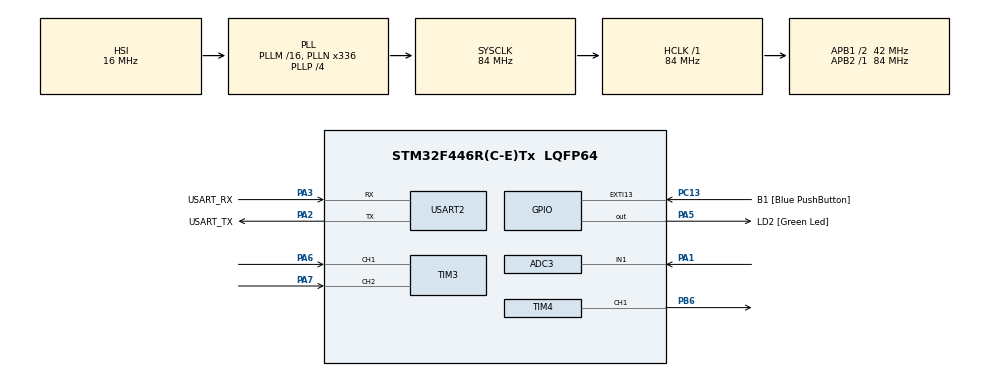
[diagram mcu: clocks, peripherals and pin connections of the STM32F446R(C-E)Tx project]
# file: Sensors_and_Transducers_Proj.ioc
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ADC3.Channel-0\#ChannelRegularConversion=ADC_CHANNEL_1
ADC3.ContinuousConvMode=ENABLE
ADC3.DMAContinuousRequests=ENABLE
ADC3.NbrOfConversionFlag=1
ADC3.Rank-0\#ChannelRegularConversion=1
ADC3.SamplingTime-0\#ChannelRegularConversion=ADC_SAMPLETIME_3CYCLES
ADC3.ScanConvMode=DISABLE
Dma.ADC3.0.Direction=DMA_PERIPH_TO_MEMORY
Dma.ADC3.0.FIFOMode=DMA_FIFOMODE_DISABLE
Dma.ADC3.0.Instance=DMA2_Stream0
Dma.ADC3.0.MemDataAlignment=DMA_MDATAALIGN_WORD
Dma.ADC3.0.MemInc=DMA_MINC_ENABLE
Dma.ADC3.0.Mode=DMA_CIRCULAR
Dma.ADC3.0.PeriphDataAlignment=DMA_PDATAALIGN_WORD
Dma.ADC3.0.PeriphInc=DMA_PINC_DISABLE
Dma.ADC3.0.Priority=DMA_PRIORITY_LOW
Dma.Request0=ADC3
Mcu.Family=STM32F4
Mcu.Name=STM32F446R(C-E)Tx
Mcu.Package=LQFP64
NVIC.DMA2_Stream0_IRQn=true\:1\:0\:true\:false\:true\:false\:true
NVIC.PriorityGroup=NVIC_PRIORITYGROUP_1
NVIC.TIM6_DAC_IRQn=true\:0\:0\:false\:false\:true\:true\:true
PA1.Signal=ADCx_IN1
PA13.GPIO_Label=TMS
PA13.Mode=Serial_Wire
PA13.Signal=SYS_JTMS-SWDIO
PA14.GPIO_Label=TCK
PA14.Mode=Serial_Wire
PA14.Signal=SYS_JTCK-SWCLK
PA2.GPIO_Label=USART_TX
PA2.Mode=Asynchronous
PA2.Signal=USART2_TX
PA3.GPIO_Label=USART_RX
PA3.Mode=Asynchronous
PA3.Signal=USART2_RX
PA5.GPIO_Label=LD2 [Green Led]
PA5.Signal=GPIO_Output
PA6.GPIO_PuPd=GPIO_PULLUP
PA6.GPIO_Speed=GPIO_SPEED_FREQ_VERY_HIGH
PA6.Signal=S_TIM3_CH1
PA7.GPIO_PuPd=GPIO_PULLUP
PA7.GPIO_Speed=GPIO_SPEED_FREQ_VERY_HIGH
PA7.Signal=S_TIM3_CH2
PB3.GPIO_Label=SWO
PB3.Signal=SYS_JTDO-SWO
PB6.Signal=S_TIM4_CH1
PC13.GPIO_Label=B1 [Blue PushButton]
PC13.GPIO_ModeDefaultEXTI=GPIO_MODE_IT_FALLING
PC13.Signal=GPXTI13
PC14-OSC32_IN.Mode=LSE-External-Oscillator
PC14-OSC32_IN.Signal=RCC_OSC32_IN
PC15-OSC32_OUT.Mode=LSE-External-Oscillator
PC15-OSC32_OUT.Signal=RCC_OSC32_OUT
PH0-OSC_IN.Mode=HSE-External-Oscillator
PH0-OSC_IN.Signal=RCC_OSC_IN
PH1-OSC_OUT.Mode=HSE-External-Oscillator
PH1-OSC_OUT.Signal=RCC_OSC_OUT
ProjectManager.HeapSize=0x200
ProjectManager.StackSize=0x400
ProjectManager.TargetToolchain=STM32CubeIDE
RCC.48MHZClocksFreq_Value=84000000
RCC.AHBFreq_Value=84000000
RCC.APB1CLKDivider=RCC_HCLK_DIV2
RCC.APB1Freq_Value=42000000
RCC.APB1TimFreq_Value=84000000
RCC.APB2Freq_Value=84000000
RCC.APB2TimFreq_Value=84000000
RCC.CortexFreq_Value=84000000
RCC.FLatency-AdvancedSettings=FLASH_LATENCY_2
RCC.HCLKFreq_Value=84000000
RCC.HSE_VALUE=8000000
RCC.HSI_VALUE=16000000
RCC.PLLN=336
RCC.PLLP=RCC_PLLP_DIV4
RCC.SYSCLKFreq_VALUE=84000000
RCC.SYSCLKSource=RCC_SYSCLKSOURCE_PLLCLK
RCC.USBFreq_Value=168000000
RCC.VCOOutputFreq_Value=336000000
SH.ADCx_IN1.0=ADC3_IN1,IN1
SH.S_TIM3_CH1.0=TIM3_CH1,Encoder_Interface
SH.S_TIM3_CH2.0=TIM3_CH2,Encoder_Interface
SH.S_TIM4_CH1.0=TIM4_CH1,PWM Generation1 CH1
TIM3.IC1Filter=7
TIM3.IC2Filter=7
TIM4.Channel-PWM\ Generation1\ CH1=TIM_CHANNEL_1
TIM4.Period=4199
TIM6.Period=999
TIM6.Prescaler=8399
USART2.VirtualMode=VM_ASYNC
VP_TIM6_VS_ClockSourceINT.Mode=Enable_Timer
board=NUCLEO-F446RE

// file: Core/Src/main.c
/* USER CODE BEGIN Header */
/**
  ******************************************************************************
  * @file           : main.c
  * @brief          : Main program body
  ******************************************************************************
  * @attention
  *
  * <h2><center>&copy; Copyright (c) 2020 STMicroelectronics.
  * All rights reserved.</center></h2>
  *
  * This software component is licensed by ST under BSD 3-Clause license,
  * the "License"; You may not use this file except in compliance with the
  * License. You may obtain a copy of the License at:
  *                        opensource.org/licenses/BSD-3-Clause
  *
  ******************************************************************************
  */
/* USER CODE END Header */
#include "main.h"

/* USER CODE BEGIN PD */
#define Vm 5                       /* Motor Supply Voltage */
#define Ka 0.5                     /* Motor Torque Constant*/
#define Ra 2.1818                  /* Motor Armature Resistance*/
#define set_point 30
#define CPR_encoder_motor 64
#define gear_ratio_motor 70
#define time_elapsed 0.1
#define Kp 0.05
#define Vref 3300 					/* Voltage Reference [mV] */
#define kT 0.5
#define n_samples 200
/* USER CODE END PD */

/* USER CODE BEGIN PM */
double get_mean();
int32_t difference_count(uint32_t cnt2,uint32_t cnt1,TIM_HandleTypeDef htim);
double get_speed();
void actuate_control_action(float torque);
float P_controller(float speed);
/* USER CODE END PM */

ADC_HandleTypeDef hadc3;
DMA_HandleTypeDef hdma_adc3;

TIM_HandleTypeDef htim3;
TIM_HandleTypeDef htim4;
TIM_HandleTypeDef htim6;

UART_HandleTypeDef huart2;

/* USER CODE BEGIN PV */
uint32_t counter = 0;
float raw_mean = 0;
uint32_t buffer_raw[200];
uint32_t count1_encoder = 0;
uint32_t count2_encoder = 0;
double v_out = Vm;
/* USER CODE END PV */

void SystemClock_Config(void);
static void MX_GPIO_Init(void);
static void MX_DMA_Init(void);
static void MX_USART2_UART_Init(void);
static void MX_ADC3_Init(void);
static void MX_TIM6_Init(void);
static void MX_TIM3_Init(void);
static void MX_TIM4_Init(void);

int main(void)
{

  /* MCU Configuration--------------------------------------------------------*/

  /* Reset of all peripherals, Initializes the Flash interface and the Systick. */
  HAL_Init();

  /* Configure the system clock */
  SystemClock_Config();

  /* Initialize all configured peripherals */
  MX_GPIO_Init();
  MX_DMA_Init();
  MX_USART2_UART_Init();
  MX_ADC3_Init();
  MX_TIM6_Init();
  MX_TIM3_Init();
  MX_TIM4_Init();
  /* USER CODE BEGIN 2 */
  HAL_ADC_Start_DMA(&hadc3,buffer_raw, 200);
  /* Start counting in X4 Encoder mode rising and falling edges of encoders' output signals */
  HAL_TIM_Encoder_Start(&htim3, TIM_CHANNEL_ALL);
  HAL_TIM_PWM_Start(&htim4, TIM_CHANNEL_1);
  /* Time base start in IT mode */
  HAL_TIM_Base_Start_IT(&htim6);
  /* First count */
  count1_encoder = __HAL_TIM_GET_COUNTER(&htim3);
  /* USER CODE END 2 */

  /* Infinite loop */
  while (1)
  {

  }
}

void SystemClock_Config(void)
{
  RCC_OscInitTypeDef RCC_OscInitStruct = {0};
  RCC_ClkInitTypeDef RCC_ClkInitStruct = {0};

  /** Configure the main internal regulator output voltage
  */
  __HAL_RCC_PWR_CLK_ENABLE();
  __HAL_PWR_VOLTAGESCALING_CONFIG(PWR_REGULATOR_VOLTAGE_SCALE3);
  /** Initializes the RCC Oscillators according to the specified parameters
  * in the RCC_OscInitTypeDef structure.
  */
  RCC_OscInitStruct.OscillatorType = RCC_OSCILLATORTYPE_HSI;
  RCC_OscInitStruct.HSIState = RCC_HSI_ON;
  RCC_OscInitStruct.HSICalibrationValue = RCC_HSICALIBRATION_DEFAULT;
  RCC_OscInitStruct.PLL.PLLState = RCC_PLL_ON;
  RCC_OscInitStruct.PLL.PLLSource = RCC_PLLSOURCE_HSI;
  RCC_OscInitStruct.PLL.PLLM = 16;
  RCC_OscInitStruct.PLL.PLLN = 336;
  RCC_OscInitStruct.PLL.PLLP = RCC_PLLP_DIV4;
  RCC_OscInitStruct.PLL.PLLQ = 2;
  RCC_OscInitStruct.PLL.PLLR = 2;
  if (HAL_RCC_OscConfig(&RCC_OscInitStruct) != HAL_OK)
  {
    Error_Handler();
  }
  /** Initializes the CPU, AHB and APB buses clocks
  */
  RCC_ClkInitStruct.ClockType = RCC_CLOCKTYPE_HCLK|RCC_CLOCKTYPE_SYSCLK
                              |RCC_CLOCKTYPE_PCLK1|RCC_CLOCKTYPE_PCLK2;
  RCC_ClkInitStruct.SYSCLKSource = RCC_SYSCLKSOURCE_PLLCLK;
  RCC_ClkInitStruct.AHBCLKDivider = RCC_SYSCLK_DIV1;
  RCC_ClkInitStruct.APB1CLKDivider = RCC_HCLK_DIV2;
  RCC_ClkInitStruct.APB2CLKDivider = RCC_HCLK_DIV1;

  if (HAL_RCC_ClockConfig(&RCC_ClkInitStruct, FLASH_LATENCY_2) != HAL_OK)
  {
    Error_Handler();
  }
}

static void MX_ADC3_Init(void)
{

  ADC_ChannelConfTypeDef sConfig = {0};

  /** Configure the global features of the ADC (Clock, Resolution, Data Alignment and number of conversion)
  */
  hadc3.Instance = ADC3;
  hadc3.Init.ClockPrescaler = ADC_CLOCK_SYNC_PCLK_DIV4;
  hadc3.Init.Resolution = ADC_RESOLUTION_12B;
  hadc3.Init.ScanConvMode = DISABLE;
  hadc3.Init.ContinuousConvMode = ENABLE;
  hadc3.Init.DiscontinuousConvMode = DISABLE;
  hadc3.Init.ExternalTrigConvEdge = ADC_EXTERNALTRIGCONVEDGE_NONE;
  hadc3.Init.ExternalTrigConv = ADC_SOFTWARE_START;
  hadc3.Init.DataAlign = ADC_DATAALIGN_RIGHT;
  hadc3.Init.NbrOfConversion = 1;
  hadc3.Init.DMAContinuousRequests = ENABLE;
  hadc3.Init.EOCSelection = ADC_EOC_SINGLE_CONV;
  if (HAL_ADC_Init(&hadc3) != HAL_OK)
  {
    Error_Handler();
  }
  /** Configure for the selected ADC regular channel its corresponding rank in the sequencer and its sample time.
  */
  sConfig.Channel = ADC_CHANNEL_1;
  sConfig.Rank = 1;
  sConfig.SamplingTime = ADC_SAMPLETIME_3CYCLES;
  if (HAL_ADC_ConfigChannel(&hadc3, &sConfig) != HAL_OK)
  {
    Error_Handler();
  }

}

static void MX_TIM3_Init(void)
{

  TIM_Encoder_InitTypeDef sConfig = {0};
  TIM_MasterConfigTypeDef sMasterConfig = {0};

  htim3.Instance = TIM3;
  htim3.Init.Prescaler = 0;
  htim3.Init.CounterMode = TIM_COUNTERMODE_UP;
  htim3.Init.Period = 65535;
  htim3.Init.ClockDivision = TIM_CLOCKDIVISION_DIV1;
  htim3.Init.AutoReloadPreload = TIM_AUTORELOAD_PRELOAD_DISABLE;
  sConfig.EncoderMode = TIM_ENCODERMODE_TI12;
  sConfig.IC1Polarity = TIM_ICPOLARITY_RISING;
  sConfig.IC1Selection = TIM_ICSELECTION_DIRECTTI;
  sConfig.IC1Prescaler = TIM_ICPSC_DIV1;
  sConfig.IC1Filter = 7;
  sConfig.IC2Polarity = TIM_ICPOLARITY_RISING;
  sConfig.IC2Selection = TIM_ICSELECTION_DIRECTTI;
  sConfig.IC2Prescaler = TIM_ICPSC_DIV1;
  sConfig.IC2Filter = 7;
  if (HAL_TIM_Encoder_Init(&htim3, &sConfig) != HAL_OK)
  {
    Error_Handler();
  }
  sMasterConfig.MasterOutputTrigger = TIM_TRGO_RESET;
  sMasterConfig.MasterSlaveMode = TIM_MASTERSLAVEMODE_DISABLE;
  if (HAL_TIMEx_MasterConfigSynchronization(&htim3, &sMasterConfig) != HAL_OK)
  {
    Error_Handler();
  }

}

static void MX_TIM4_Init(void)
{

  TIM_MasterConfigTypeDef sMasterConfig = {0};
  TIM_OC_InitTypeDef sConfigOC = {0};

  htim4.Instance = TIM4;
  htim4.Init.Prescaler = 0;
  htim4.Init.CounterMode = TIM_COUNTERMODE_UP;
  htim4.Init.Period = 4199;
  htim4.Init.ClockDivision = TIM_CLOCKDIVISION_DIV1;
  htim4.Init.AutoReloadPreload = TIM_AUTORELOAD_PRELOAD_DISABLE;
  if (HAL_TIM_PWM_Init(&htim4) != HAL_OK)
  {
    Error_Handler();
  }
  sMasterConfig.MasterOutputTrigger = TIM_TRGO_RESET;
  sMasterConfig.MasterSlaveMode = TIM_MASTERSLAVEMODE_DISABLE;
  if (HAL_TIMEx_MasterConfigSynchronization(&htim4, &sMasterConfig) != HAL_OK)
  {
    Error_Handler();
  }
  sConfigOC.OCMode = TIM_OCMODE_PWM1;
  sConfigOC.Pulse = 0;
  sConfigOC.OCPolarity = TIM_OCPOLARITY_HIGH;
  sConfigOC.OCFastMode = TIM_OCFAST_DISABLE;
  if (HAL_TIM_PWM_ConfigChannel(&htim4, &sConfigOC, TIM_CHANNEL_1) != HAL_OK)
  {
    Error_Handler();
  }
  HAL_TIM_MspPostInit(&htim4);

}

static void MX_TIM6_Init(void)
{

  TIM_MasterConfigTypeDef sMasterConfig = {0};

  htim6.Instance = TIM6;
  htim6.Init.Prescaler = 8399;
  htim6.Init.CounterMode = TIM_COUNTERMODE_UP;
  htim6.Init.Period = 999;
  htim6.Init.AutoReloadPreload = TIM_AUTORELOAD_PRELOAD_DISABLE;
  if (HAL_TIM_Base_Init(&htim6) != HAL_OK)
  {
    Error_Handler();
  }
  sMasterConfig.MasterOutputTrigger = TIM_TRGO_RESET;
  sMasterConfig.MasterSlaveMode = TIM_MASTERSLAVEMODE_DISABLE;
  if (HAL_TIMEx_MasterConfigSynchronization(&htim6, &sMasterConfig) != HAL_OK)
  {
    Error_Handler();
  }

}

static void MX_USART2_UART_Init(void)
{

  huart2.Instance = USART2;
  huart2.Init.BaudRate = 115200;
  huart2.Init.WordLength = UART_WORDLENGTH_8B;
  huart2.Init.StopBits = UART_STOPBITS_1;
  huart2.Init.Parity = UART_PARITY_NONE;
  huart2.Init.Mode = UART_MODE_TX;
  huart2.Init.HwFlowCtl = UART_HWCONTROL_NONE;
  huart2.Init.OverSampling = UART_OVERSAMPLING_16;
  if (HAL_UART_Init(&huart2) != HAL_OK)
  {
    Error_Handler();
  }

}

static void MX_DMA_Init(void)
{

  /* DMA controller clock enable */
  __HAL_RCC_DMA2_CLK_ENABLE();

  /* DMA interrupt init */
  /* DMA2_Stream0_IRQn interrupt configuration */
  HAL_NVIC_SetPriority(DMA2_Stream0_IRQn, 1, 0);
  HAL_NVIC_EnableIRQ(DMA2_Stream0_IRQn);

}

static void MX_GPIO_Init(void)
{
  GPIO_InitTypeDef GPIO_InitStruct = {0};

  /* GPIO Ports Clock Enable */
  __HAL_RCC_GPIOC_CLK_ENABLE();
  __HAL_RCC_GPIOH_CLK_ENABLE();
  __HAL_RCC_GPIOA_CLK_ENABLE();
  __HAL_RCC_GPIOB_CLK_ENABLE();

  /*Configure GPIO pin Output Level */
  HAL_GPIO_WritePin(LD2_GPIO_Port, LD2_Pin, GPIO_PIN_RESET);

  /*Configure GPIO pin : B1_Pin */
  GPIO_InitStruct.Pin = B1_Pin;
  GPIO_InitStruct.Mode = GPIO_MODE_IT_FALLING;
  GPIO_InitStruct.Pull = GPIO_NOPULL;
  HAL_GPIO_Init(B1_GPIO_Port, &GPIO_InitStruct);

  /*Configure GPIO pin : LD2_Pin */
  GPIO_InitStruct.Pin = LD2_Pin;
  GPIO_InitStruct.Mode = GPIO_MODE_OUTPUT_PP;
  GPIO_InitStruct.Pull = GPIO_NOPULL;
  GPIO_InitStruct.Speed = GPIO_SPEED_FREQ_LOW;
  HAL_GPIO_Init(LD2_GPIO_Port, &GPIO_InitStruct);

}

/* USER CODE BEGIN 4 */
void HAL_ADC_ConvCpltCallback(ADC_HandleTypeDef* hadc)
{
	counter++;
	float buffer_mean = get_mean();
	raw_mean = buffer_mean/counter + ((float)(counter-1)/counter)*raw_mean;
}

double get_mean()
{
	uint32_t sum = 0;
	for (int i = 0; i < n_samples; i++)
	{
		sum += buffer_raw[i];
	}
	return (sum/n_samples);
}
void HAL_TIM_PeriodElapsedCallback(TIM_HandleTypeDef *htim)
{
	/*Read data from Sensors*/
	float inputV = raw_mean * Vref / 4095;
	double current = (double)inputV / kT;
	double speed = get_speed();
	/*    CONTROLLER    */
	float P_speed = P_controller(speed);
	actuate_control_action(P_speed);
	/*Send data to MATLAB*/
	HAL_UART_Transmit(&huart2, (uint8_t*)&current,sizeof(current),n_samples);
	HAL_UART_Transmit(&huart2, (uint8_t*)&speed,sizeof(speed),n_samples);
	counter = 0;
	raw_mean = 0;
}
double get_speed()
{
	/* Calculate system states */
	count2_encoder = __HAL_TIM_GET_COUNTER(&htim3);
	double difference_count_motor = (double)difference_count(count2_encoder,count1_encoder,htim3);
	count1_encoder = count2_encoder;
	return (((double)difference_count_motor * 60)/(gear_ratio_motor * time_elapsed * CPR_encoder_motor)); // rpm
}
int32_t difference_count(uint32_t cnt2,uint32_t cnt1,TIM_HandleTypeDef htim)
{
	/* Function used to avoid count overflow */
	int32_t difference = cnt2 - cnt1;
	if (__HAL_TIM_IS_TIM_COUNTING_DOWN(&htim) && (cnt2 > cnt1))
		{
			difference =  cnt2 - __HAL_TIM_GET_AUTORELOAD(&htim) - cnt1;
		}
	else if ((__HAL_TIM_IS_TIM_COUNTING_DOWN(&htim) == 0) && (cnt1 > cnt2))
		{
			difference = - cnt1 + __HAL_TIM_GET_AUTORELOAD(&htim) + cnt2;
		}
	return difference;
}
void actuate_control_action(float P_term)
{
	/* Calculate duty cycle */
	v_out = v_out + P_term;
	float duty = v_out/Vm;
	/* Duty cycle saturation block */
	if (duty > 1)
	{
		duty = 1;
		v_out = Vm;
	}
	else if (duty < 0)
	{
		duty = 0;
		v_out = 0;
	}
	/* Set CCR in order to get the PWM signal */
	uint16_t ccr = (uint16_t)(fabs(duty)*(float)(1+__HAL_TIM_GET_AUTORELOAD(&htim4)));
	__HAL_TIM_SET_COMPARE(&htim4,TIM_CHANNEL_1,ccr);
}
float P_controller(float speed)
{
	/* P Controller */
	float proportional_error = set_point - speed;
	float P_term = Kp * proportional_error;
	return(P_term);
}
/* USER CODE END 4 */

void Error_Handler(void)
{
}

/************************ (C) COPYRIGHT STMicroelectronics *****END OF FILE****/
